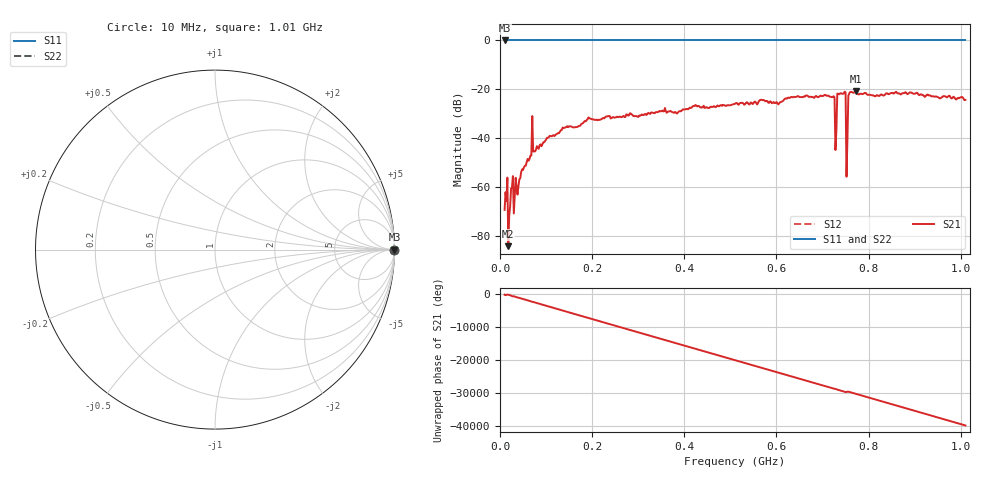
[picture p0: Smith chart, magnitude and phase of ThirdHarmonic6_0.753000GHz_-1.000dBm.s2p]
! 8/16/2025 1:11:21 AM
! C:\ANRITSUVNA\TEMP\TEMP.S2P
! CHANNEL.1
! TR.MEASUREMENT
! RAW.DATA
! RF.CORRECTION.OFF
! AVERAGING.OFF
! IF.BANDWIDTH: 5KHZ
! SWEEPTYPE:  FREQ.SWEEP(Linear)
! Reference Plane Port Info
! PORT:  PORT1  PORT2
! DISTANCE:  0  m  0  m
! TIME:  0  s  0  s
! PHASE.OFFSET:  0  deg.  0  deg.
! LOSS:  0  dB  0  dB
! REF.LOSS:  0  dB  0  dB
! REF.FREQ:  0  Hz  0  Hz
! Power Info
! POWER:  -20  dBm  -20  dBm
! EFF.POWER:  -20  dBm  -20  dBm
! SOURCE.ATTEN:  0  dB  0  dB
! TEST.ATTEN:  0  dB  0  dB
# GHZ S RI R 50.0
! FREQ.GHZ  S11RE  S11IM  S21RE  S21IM  S12RE  S12IM  S22RE  S22IM
!; PortSelection: Port_12
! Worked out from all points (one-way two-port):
!   501 points, 10 MHz to 1.01 GHz, reference 50 ohm
!   highest |S21| = -20.86 dB at 772 MHz (marker M1); lowest = -84.2 dB at 18 MHz (marker M2)
!   lowest |S11| = 0.0 dB at 10 MHz (marker M3)
!   |S11| at or under -10 dB: nowhere
!   |S22| runs from 0.0 to 0.0 dB; largest |S21 - S12| = 1.1
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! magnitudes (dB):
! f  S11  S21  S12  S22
! 10 MHz  0.0  -69.3  0.0  0.0
! 12 MHz  0.0  -62.1  0.0  0.0
! 18 MHz  0.0  -84.2  0.0  0.0
! 22 MHz  0.0  -67.9  0.0  0.0
! 24 MHz  0.0  -60.7  0.0  0.0
! 34 MHz  0.0  -56.2  0.0  0.0
! 70 MHz  0.0  -30.9  0.0  0.0
! 178 MHz  0.0  -34.0  0.0  0.0
! 344 MHz  0.0  -29.2  0.0  0.0
! 510 MHz  0.0  -25.9  0.0  0.0
! 678 MHz  0.0  -23.1  0.0  0.0
! 722 MHz  0.0  -23.1  0.0  0.0
! 726 MHz  0.0  -23.2  0.0  0.0
! 732 MHz  0.0  -21.8  0.0  0.0
! 736 MHz  0.0  -22.0  0.0  0.0
! 746 MHz  0.0  -21.7  0.0  0.0
! 750 MHz  0.0  -21.2  0.0  0.0
! 756 MHz  0.0  -22.6  0.0  0.0
! 760 MHz  0.0  -21.1  0.0  0.0
! 772 MHz  0.0  -20.9  0.0  0.0
! 844 MHz  0.0  -22.0  0.0  0.0
! 1.01 GHz  0.0  -24.3  0.0  0.0
